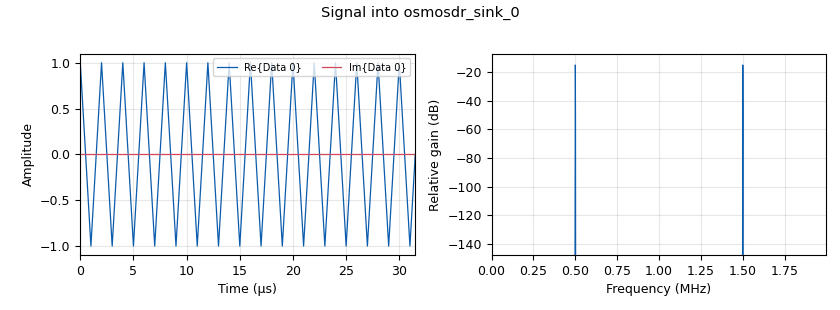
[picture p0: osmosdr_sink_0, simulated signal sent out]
<?xml version='1.0' encoding='utf-8'?>
<?grc format='1' created='3.7.11'?>
<flow_graph>
<block>
<key>options</key>
<param><key>id</key><value>top_block</value></param>
<param><key>generate_options</key><value>qt_gui</value></param>
</block>
<block>
<key>variable</key>
<param><key>id</key><value>samp_rate</value></param>
<param><key>value</key><value>2e6</value></param>
</block>
<block>
<key>analog_const_source_x</key>
<param><key>id</key><value>analog_const_source_x_0</value></param>
<param><key>const</key><value>0</value></param>
<param><key>type</key><value>float</value></param>
</block>
<block>
<key>analog_sig_source_x</key>
<param><key>id</key><value>analog_sig_source_x_0</value></param>
<param><key>amp</key><value>1</value></param>
<param><key>freq</key><value>0.5e6</value></param>
<param><key>offset</key><value>0</value></param>
<param><key>type</key><value>float</value></param>
<param><key>samp_rate</key><value>samp_rate</value></param>
<param><key>waveform</key><value>analog.GR_COS_WAVE</value></param>
</block>
<block>
<key>blocks_burst_tagger</key>
<param><key>id</key><value>blocks_burst_tagger_0</value></param>
<param><key>false_key</key><value>burst</value></param>
<param><key>false_value</key><value>False</value></param>
<param><key>type</key><value>float</value></param>
<param><key>true_key</key><value>burst</value></param>
<param><key>true_value</key><value>True</value></param>
</block>
<block>
<key>blocks_float_to_complex</key>
<param><key>id</key><value>blocks_float_to_complex_0</value></param>
</block>
<block>
<key>blocks_repeat</key>
<param><key>id</key><value>blocks_repeat_0</value></param>
<param><key>interp</key><value>100</value></param>
<param><key>type</key><value>short</value></param>
</block>
<block>
<key>blocks_vector_source_x</key>
<param><key>id</key><value>blocks_vector_source_x_0</value></param>
<param><key>type</key><value>short</value></param>
<param><key>repeat</key><value>True</value></param>
<param><key>vector</key><value>(1,0)</value></param>
</block>
<block>
<key>digital_burst_shaper_xx</key>
<param><key>id</key><value>digital_burst_shaper_xx_0</value></param>
<param><key>insert_phasing</key><value>False</value></param>
<param><key>length_tag_name</key><value>"packet_len"</value></param>
<param><key>post_padding</key><value>0</value></param>
<param><key>pre_padding</key><value>0</value></param>
<param><key>type</key><value>float</value></param>
<param><key>window</key><value>([])</value></param>
</block>
<block>
<key>osmosdr_sink</key>
<param><key>id</key><value>osmosdr_sink_0</value></param>
<param><key>bb_gain0</key><value>16</value></param>
<param><key>freq0</key><value>1e6</value></param>
<param><key>if_gain0</key><value>16</value></param>
<param><key>gain0</key><value>0</value></param>
<param><key>comment</key><value>Contol the transmitter.</value></param>
<param><key>args</key><value>hackrf=232a2c5f</value></param>
<param><key>type</key><value>fc32</value></param>
<param><key>sample_rate</key><value>samp_rate</value></param>
<param><key>sync</key><value></value></param>
</block>
<block>
<key>osmosdr_source</key>
<param><key>id</key><value>osmosdr_source_0_0</value></param>
<param><key>bb_gain0</key><value>16</value></param>
<param><key>freq0</key><value>1e6</value></param>
<param><key>gain_mode0</key><value>False</value></param>
<param><key>if_gain0</key><value>16</value></param>
<param><key>gain0</key><value>0</value></param>
<param><key>args</key><value>hackrf=2226255f</value></param>
<param><key>type</key><value>fc32</value></param>
<param><key>sample_rate</key><value>samp_rate</value></param>
<param><key>sync</key><value></value></param>
</block>
<block>
<key>qtgui_freq_sink_x</key>
<param><key>id</key><value>qtgui_freq_sink_x_0_0</value></param>
<param><key>bw</key><value>samp_rate</value></param>
<param><key>fc</key><value>0</value></param>
<param><key>fftsize</key><value>1024</value></param>
<param><key>showports</key><value>True</value></param>
<param><key>type</key><value>complex</value></param>
<param><key>wintype</key><value>firdes.WIN_BLACKMAN_hARRIS</value></param>
</block>
<block>
<key>qtgui_time_sink_x</key>
<param><key>id</key><value>qtgui_time_sink_x_0</value></param>
<param><key>color1</key><value>"blue"</value></param>
<param><key>label1</key><value></value></param>
<param><key>color2</key><value>"red"</value></param>
<param><key>label2</key><value></value></param>
<param><key>size</key><value>1024</value></param>
<param><key>srate</key><value>samp_rate/4</value></param>
<param><key>type</key><value>complex</value></param>
</block>
<connection><source_block_id>analog_const_source_x_0</source_block_id><sink_block_id>blocks_float_to_complex_0</sink_block_id><source_key>0</source_key><sink_key>1</sink_key></connection>
<connection><source_block_id>analog_sig_source_x_0</source_block_id><sink_block_id>blocks_burst_tagger_0</sink_block_id><source_key>0</source_key><sink_key>0</sink_key></connection>
<connection><source_block_id>blocks_burst_tagger_0</source_block_id><sink_block_id>blocks_float_to_complex_0</sink_block_id><source_key>0</source_key><sink_key>0</sink_key></connection>
<connection><source_block_id>blocks_float_to_complex_0</source_block_id><sink_block_id>osmosdr_sink_0</sink_block_id><source_key>0</source_key><sink_key>0</sink_key></connection>
<connection><source_block_id>blocks_repeat_0</source_block_id><sink_block_id>blocks_burst_tagger_0</sink_block_id><source_key>0</source_key><sink_key>1</sink_key></connection>
<connection><source_block_id>blocks_vector_source_x_0</source_block_id><sink_block_id>blocks_repeat_0</sink_block_id><source_key>0</source_key><sink_key>0</sink_key></connection>
<connection><source_block_id>osmosdr_source_0_0</source_block_id><sink_block_id>qtgui_freq_sink_x_0_0</sink_block_id><source_key>0</source_key><sink_key>0</sink_key></connection>
<connection><source_block_id>osmosdr_source_0_0</source_block_id><sink_block_id>qtgui_time_sink_x_0</sink_block_id><source_key>0</source_key><sink_key>0</sink_key></connection>
</flow_graph>
